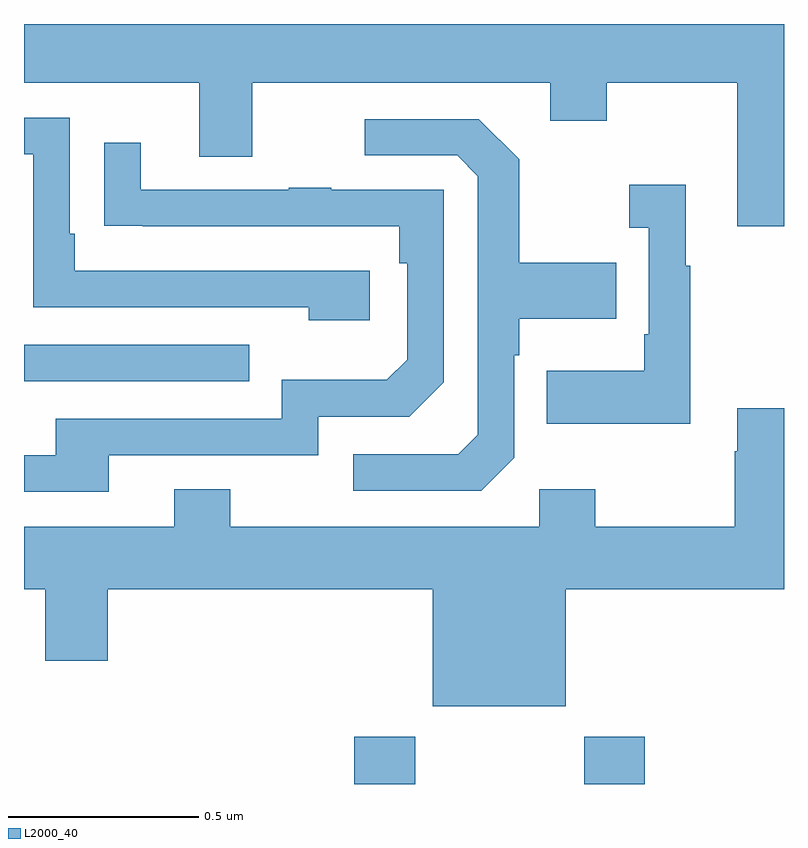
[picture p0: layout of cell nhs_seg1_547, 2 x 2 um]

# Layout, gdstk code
import gdstk
lib = gdstk.Library(unit=1e-6, precision=1e-09)
def R(c, l, rs):  # rectangles x0, y0, x1, y1
    for r in rs: c.add(gdstk.rectangle(r[:2], r[2:], *l))
def P(c, l, *ps):  # polygons
    for p in ps: c.add(gdstk.Polygon(p, *l))
L2000_40 = (2000, 40)

nhs_seg1_547 = lib.new_cell('nhs_seg1_547')
R(nhs_seg1_547, L2000_40, [(117.869,571.199,118.029,571.324), (118.474,571.199,118.634,571.324), (117,572.259,117.593,572.355)])
P(nhs_seg1_547, L2000_40, [(119,573.199),(117,573.199),(117,573.044),(117.461,573.044),(117.461,572.85),(117.601,572.85),(117.601,573.044),(118.385,573.044),(118.385,572.945),(118.533,572.945),(118.533,573.044),(118.877,573.044),(118.877,572.667),(119,572.667)],
  [(117.91,572.55),(117.133,572.55),(117.133,572.647),(117.12,572.647),(117.12,572.952),(117,572.952),(117,572.856),(117.024,572.856),(117.024,572.454),(117.749,572.454),(117.749,572.42),(117.91,572.42)],
  [(118.29,572.058),(118.29,572.327),(118.303,572.327),(118.303,572.423),(118.559,572.423),(118.559,572.571),(118.303,572.571),(118.303,572.843),(118.197,572.949),(117.897,572.949),(117.897,572.853),(118.14,572.853),(118.194,572.799),(118.194,572.118),(118.143,572.067),(117.867,572.067),(117.867,571.971),(118.203,571.971)],
  [(117.223,572.064),(117.774,572.064),(117.774,572.166),(118.014,572.166),(118.104,572.256),(118.104,572.763),(117.809,572.763),(117.809,572.768),(117.697,572.768),(117.697,572.763),(117.307,572.763),(117.307,572.887),(117.211,572.887),(117.211,572.668),(117.313,572.668),(117.313,572.667),(117.988,572.667),(117.988,572.57),(118.008,572.57),(118.008,572.316),(117.955,572.263),(117.678,572.263),(117.678,572.16),(117.083,572.16),(117.083,572.064),(117,572.064),(117,571.968),(117.223,571.968)],
  [(118.753,572.563),(118.741,572.563),(118.741,572.776),(118.593,572.776),(118.593,572.663),(118.644,572.663),(118.644,572.383),(118.632,572.383),(118.632,572.287),(118.375,572.287),(118.375,572.147),(118.753,572.147)],
  [(118.426,571.712),(119,571.712),(119,572.188),(118.877,572.188),(118.877,572.075),(118.87,572.075),(118.87,571.876),(118.503,571.876),(118.503,571.975),(118.356,571.975),(118.356,571.876),(117.543,571.876),(117.543,571.975),(117.395,571.975),(117.395,571.876),(117,571.876),(117,571.712),(117.056,571.712),(117.056,571.524),(117.22,571.524),(117.22,571.712),(118.076,571.712),(118.076,571.403),(118.426,571.403)])

lib.write_gds('nhs_seg1_547.gds')
